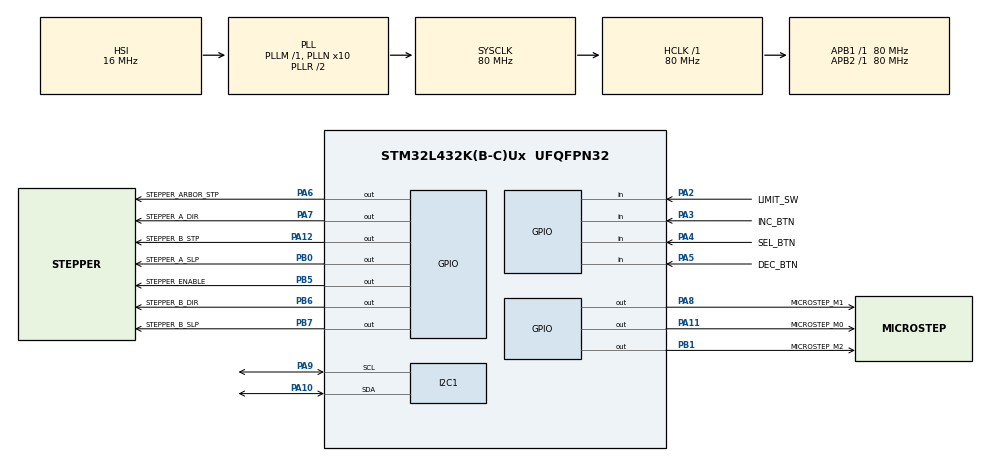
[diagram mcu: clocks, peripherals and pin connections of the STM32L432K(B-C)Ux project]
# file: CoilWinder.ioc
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FREERTOS.INCLUDE_vTaskPrioritySet=1
FREERTOS.Tasks01=UITask,24,128,StartDefaultTask,Default,NULL,Dynamic,NULL,NULL;motorTask,32,128,StartTask02,Default,NULL,Dynamic,NULL,NULL
FREERTOS.configUSE_NEWLIB_REENTRANT=1
I2C1.Timing=0x10909CEC
Mcu.Family=STM32L4
Mcu.Name=STM32L432K(B-C)Ux
Mcu.Package=UFQFPN32
NVIC.PriorityGroup=NVIC_PRIORITYGROUP_4
PA10.Mode=I2C
PA10.Signal=I2C1_SDA
PA11.GPIO_Label=MICROSTEP_M0
PA11.GPIO_PuPd=GPIO_PULLDOWN
PA11.Signal=GPIO_Output
PA12.GPIO_Label=STEPPER_B_STP
PA12.GPIO_PuPd=GPIO_PULLDOWN
PA12.GPIO_Speed=GPIO_SPEED_FREQ_HIGH
PA12.Signal=GPIO_Output
PA2.GPIO_Label=LIMIT_SW
PA2.GPIO_PuPd=GPIO_PULLDOWN
PA2.Signal=GPIO_Input
PA3.GPIO_Label=INC_BTN
PA3.GPIO_PuPd=GPIO_PULLDOWN
PA3.Signal=GPIO_Input
PA4.GPIO_Label=SEL_BTN
PA4.GPIO_PuPd=GPIO_PULLDOWN
PA4.Signal=GPIO_Input
PA5.GPIO_Label=DEC_BTN
PA5.GPIO_PuPd=GPIO_PULLDOWN
PA5.Signal=GPIO_Input
PA6.GPIO_Label=STEPPER_ARBOR_STP
PA6.GPIO_PuPd=GPIO_PULLDOWN
PA6.GPIO_Speed=GPIO_SPEED_FREQ_HIGH
PA6.Signal=GPIO_Output
PA7.GPIO_Label=STEPPER_A_DIR
PA7.GPIO_PuPd=GPIO_PULLDOWN
PA7.Signal=GPIO_Output
PA8.GPIO_Label=MICROSTEP_M1
PA8.GPIO_PuPd=GPIO_PULLDOWN
PA8.Signal=GPIO_Output
PA9.Mode=I2C
PA9.Signal=I2C1_SCL
PB0.GPIO_Label=STEPPER_A_SLP
PB0.GPIO_PuPd=GPIO_PULLDOWN
PB0.Signal=GPIO_Output
PB1.GPIO_Label=MICROSTEP_M2
PB1.GPIO_PuPd=GPIO_PULLDOWN
PB1.Signal=GPIO_Output
PB5.GPIO_Label=STEPPER_ENABLE
PB5.GPIO_PuPd=GPIO_PULLDOWN
PB5.Signal=GPIO_Output
PB6.GPIO_Label=STEPPER_B_DIR
PB6.GPIO_PuPd=GPIO_PULLDOWN
PB6.Signal=GPIO_Output
PB7.GPIO_Label=STEPPER_B_SLP
PB7.GPIO_PuPd=GPIO_PULLDOWN
PB7.Signal=GPIO_Output
ProjectManager.HeapSize=0x200
ProjectManager.StackSize=0x400
ProjectManager.TargetToolchain=STM32CubeIDE
RCC.ADCFreq_Value=64000000
RCC.AHBFreq_Value=80000000
RCC.APB1Freq_Value=80000000
RCC.APB1TimFreq_Value=80000000
RCC.APB2Freq_Value=80000000
RCC.APB2TimFreq_Value=80000000
RCC.CortexFreq_Value=80000000
RCC.HCLKFreq_Value=80000000
RCC.HSE_VALUE=8000000
RCC.HSI48_VALUE=48000000
RCC.HSI_VALUE=16000000
RCC.LSE_VALUE=32768
RCC.MSI_VALUE=4000000
RCC.PLLN=10
RCC.PLLSourceVirtual=RCC_PLLSOURCE_HSI
RCC.SYSCLKFreq_VALUE=80000000
RCC.SYSCLKSource=RCC_SYSCLKSOURCE_PLLCLK
RCC.USBFreq_Value=64000000
RCC.VCOOutputFreq_Value=160000000
TIM1.Period=0xffff-1
TIM1.Prescaler=80-1
VP_FREERTOS_VS_CMSIS_V2.Mode=CMSIS_V2
VP_TIM1_VS_ClockSourceINT.Mode=Internal
board=custom

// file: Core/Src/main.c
/* USER CODE BEGIN Header */
#define _USE_MATH_DEFINES
#include <math.h>
#include "liquidcrystal_i2c.h"
#include <stdbool.h>
#include <stdio.h>
#include <stdlib.h>
#include <string.h>
#include "ArborParameters.h"

#include "DRV8825_Stepper.h"
#include "Button.h"
#include "CoilParameters.h"
#include "EyeParameters.h"
#include "Field.h"
#include "UserInput.h"
#include <CoilWinderUtils.h>

/**
 ******************************************************************************
 * @file           : main.c
 * @brief          : Main program body
 ******************************************************************************
 * @attention
 *
 * Copyright (c) 2023 STMicroelectronics.
 * All rights reserved.
 *
 * This software is licensed under terms that can be found in the LICENSE file
 * in the root directory of this software component.
 * If no LICENSE file comes with this software, it is provided AS-IS.
 *
 ******************************************************************************
 */
/* USER CODE END Header */
#include "main.h"
#include "cmsis_os.h"

I2C_HandleTypeDef hi2c1;

TIM_HandleTypeDef htim1;

/* Definitions for UITask */
osThreadId_t UITaskHandle;
const osThreadAttr_t UITask_attributes = {
  .name = "UITask",
  .stack_size = 128 * 4,
  .priority = (osPriority_t) osPriorityNormal,
};
/* Definitions for motorTask */
osThreadId_t motorTaskHandle;
const osThreadAttr_t motorTask_attributes = {
  .name = "motorTask",
  .stack_size = 128 * 4,
  .priority = (osPriority_t) osPriorityAboveNormal,
};
/* USER CODE BEGIN PV */

CoilParameters_t Coil0;
Button_t IncrementButton;
Button_t DecrementButton;
Button_t SelectButton;
UserInput_t UserInput0;

UIField_t WireField;
UIField_t DiamField;
UIField_t WidthField;
UIField_t LayersField;

UIField_t * UIFields[] = {&WireField, &DiamField, &WidthField, &LayersField};

DRV8825_Stepper_t ArborStepper;
DRV8825_Stepper_t EyeStepper;
EyeParameters_t Eye0;
ArborParameters_t Arbor0;

bool redrawUI = true;

/* USER CODE END PV */

void SystemClock_Config(void);
static void MX_GPIO_Init(void);
static void MX_I2C1_Init(void);
static void MX_TIM1_Init(void);
void StartDefaultTask(void *argument);
void StartTask02(void *argument);

int main(void)
{

  /* MCU Configuration--------------------------------------------------------*/

  /* Reset of all peripherals, Initializes the Flash interface and the Systick. */
  HAL_Init();

  /* USER CODE BEGIN Init */

	Coil_Init(&Coil0, 20, 5000, 100, 1);

    Button_Init(&DecrementButton, GPIOA, DEC_BTN_Pin, 1, 1);
    Button_Init(&IncrementButton, GPIOA, INC_BTN_Pin, 1, 1);
    Button_Init(&SelectButton, GPIOA, SEL_BTN_Pin, 0, 1);

    UserInput_Init(&UserInput0, &DecrementButton, &IncrementButton, &SelectButton);

    UIField_Init(	&WireField,
    					UI_1_X, UI_1_Y, UI_FIELD_OFFSET, UI_1_MULT, FIXED_POINT_PRECISION,
    					"Wire[mm]",
    					&UserInput0,
    					Coil_getWireDiam_10um, Coil_incWireDiam_10um);

    	UIField_Init(	&DiamField,
    					UI_2_X, UI_2_Y, UI_FIELD_OFFSET, UI_2_MULT, FIXED_POINT_PRECISION,
    					"Diam[mm]",
    					&UserInput0,
    					Coil_getCoilDiam_10um, Coil_incCoilDiam_10um);

    	UIField_Init(	&WidthField,
    					UI_3_X, UI_3_Y, UI_FIELD_OFFSET, UI_3_MULT, FIXED_POINT_PRECISION,
    					"Width[mm]",
    					&UserInput0,
    					Coil_getCoilWidth_10um, Coil_incCoilWidth_10um);

    	UIField_Init(	&LayersField,
    					UI_4_X, UI_4_Y, UI_FIELD_OFFSET, UI_4_MULT, 0,
    					"Layers",
    					&UserInput0,
    					Coil_getCoilLayers, Coil_incCoilLayers);

    	DRV8825_Init(	&ArborStepper,
    					GPIOA, STEPPER_ARBOR_STP_Pin,
    					GPIOA, STEPPER_A_DIR_Pin,
    					GPIOB, STEPPER_A_SLP_Pin,
    					NULL, -1,
    					NULL, -1,
    					NULL, -1,
    					NULL, -1,
    					NULL, -1, MICROSTEP_LEVEL);

    	DRV8825_Init(	&EyeStepper,
    					GPIOA, STEPPER_B_STP_Pin,
    					GPIOB, STEPPER_B_DIR_Pin,
    					GPIOB, STEPPER_B_SLP_Pin,
    					NULL, -1,
    					NULL, -1,
    					NULL, -1,
    					NULL, -1,
    					NULL, -1, MICROSTEP_LEVEL);

    	Eye_Init(&Eye0, &EyeStepper, EYE_LENGTH, 0.0, EYE_STEPS, GPIOA, LIMIT_SW_Pin);
    	Arbor_Init(&Arbor0, &ArborStepper, 100, ARBOR_STEPS);

  /* USER CODE END Init */

  /* Configure the system clock */
  SystemClock_Config();

  /* Initialize all configured peripherals */
  MX_GPIO_Init();
  MX_I2C1_Init();
  MX_TIM1_Init();

  /* Init scheduler */
  osKernelInitialize();

  /* Create the thread(s) */
  /* creation of UITask */
  UITaskHandle = osThreadNew(StartDefaultTask, NULL, &UITask_attributes);

  /* creation of motorTask */
  motorTaskHandle = osThreadNew(StartTask02, NULL, &motorTask_attributes);

  /* Start scheduler */
  osKernelStart();

  /* We should never get here as control is now taken by the scheduler */
  /* Infinite loop */
    while (1) {

    }
}

void SystemClock_Config(void)
{
  RCC_OscInitTypeDef RCC_OscInitStruct = {0};
  RCC_ClkInitTypeDef RCC_ClkInitStruct = {0};

  /** Configure the main internal regulator output voltage
  */
  if (HAL_PWREx_ControlVoltageScaling(PWR_REGULATOR_VOLTAGE_SCALE1) != HAL_OK)
  {
    Error_Handler();
  }

  /** Initializes the RCC Oscillators according to the specified parameters
  * in the RCC_OscInitTypeDef structure.
  */
  RCC_OscInitStruct.OscillatorType = RCC_OSCILLATORTYPE_HSI;
  RCC_OscInitStruct.HSIState = RCC_HSI_ON;
  RCC_OscInitStruct.HSICalibrationValue = RCC_HSICALIBRATION_DEFAULT;
  RCC_OscInitStruct.PLL.PLLState = RCC_PLL_ON;
  RCC_OscInitStruct.PLL.PLLSource = RCC_PLLSOURCE_HSI;
  RCC_OscInitStruct.PLL.PLLM = 1;
  RCC_OscInitStruct.PLL.PLLN = 10;
  RCC_OscInitStruct.PLL.PLLP = RCC_PLLP_DIV7;
  RCC_OscInitStruct.PLL.PLLQ = RCC_PLLQ_DIV2;
  RCC_OscInitStruct.PLL.PLLR = RCC_PLLR_DIV2;
  if (HAL_RCC_OscConfig(&RCC_OscInitStruct) != HAL_OK)
  {
    Error_Handler();
  }

  /** Initializes the CPU, AHB and APB buses clocks
  */
  RCC_ClkInitStruct.ClockType = RCC_CLOCKTYPE_HCLK|RCC_CLOCKTYPE_SYSCLK
                              |RCC_CLOCKTYPE_PCLK1|RCC_CLOCKTYPE_PCLK2;
  RCC_ClkInitStruct.SYSCLKSource = RCC_SYSCLKSOURCE_PLLCLK;
  RCC_ClkInitStruct.AHBCLKDivider = RCC_SYSCLK_DIV1;
  RCC_ClkInitStruct.APB1CLKDivider = RCC_HCLK_DIV1;
  RCC_ClkInitStruct.APB2CLKDivider = RCC_HCLK_DIV1;

  if (HAL_RCC_ClockConfig(&RCC_ClkInitStruct, FLASH_LATENCY_4) != HAL_OK)
  {
    Error_Handler();
  }
}

static void MX_I2C1_Init(void)
{

  hi2c1.Instance = I2C1;
  hi2c1.Init.Timing = 0x10909CEC;
  hi2c1.Init.OwnAddress1 = 0;
  hi2c1.Init.AddressingMode = I2C_ADDRESSINGMODE_7BIT;
  hi2c1.Init.DualAddressMode = I2C_DUALADDRESS_DISABLE;
  hi2c1.Init.OwnAddress2 = 0;
  hi2c1.Init.OwnAddress2Masks = I2C_OA2_NOMASK;
  hi2c1.Init.GeneralCallMode = I2C_GENERALCALL_DISABLE;
  hi2c1.Init.NoStretchMode = I2C_NOSTRETCH_DISABLE;
  if (HAL_I2C_Init(&hi2c1) != HAL_OK)
  {
    Error_Handler();
  }

  /** Configure Analogue filter
  */
  if (HAL_I2CEx_ConfigAnalogFilter(&hi2c1, I2C_ANALOGFILTER_ENABLE) != HAL_OK)
  {
    Error_Handler();
  }

  /** Configure Digital filter
  */
  if (HAL_I2CEx_ConfigDigitalFilter(&hi2c1, 0) != HAL_OK)
  {
    Error_Handler();
  }

}

static void MX_TIM1_Init(void)
{

  TIM_ClockConfigTypeDef sClockSourceConfig = {0};
  TIM_MasterConfigTypeDef sMasterConfig = {0};

  htim1.Instance = TIM1;
  htim1.Init.Prescaler = 80-1;
  htim1.Init.CounterMode = TIM_COUNTERMODE_UP;
  htim1.Init.Period = 0xffff-1;
  htim1.Init.ClockDivision = TIM_CLOCKDIVISION_DIV1;
  htim1.Init.RepetitionCounter = 0;
  htim1.Init.AutoReloadPreload = TIM_AUTORELOAD_PRELOAD_DISABLE;
  if (HAL_TIM_Base_Init(&htim1) != HAL_OK)
  {
    Error_Handler();
  }
  sClockSourceConfig.ClockSource = TIM_CLOCKSOURCE_INTERNAL;
  if (HAL_TIM_ConfigClockSource(&htim1, &sClockSourceConfig) != HAL_OK)
  {
    Error_Handler();
  }
  sMasterConfig.MasterOutputTrigger = TIM_TRGO_RESET;
  sMasterConfig.MasterOutputTrigger2 = TIM_TRGO2_RESET;
  sMasterConfig.MasterSlaveMode = TIM_MASTERSLAVEMODE_DISABLE;
  if (HAL_TIMEx_MasterConfigSynchronization(&htim1, &sMasterConfig) != HAL_OK)
  {
    Error_Handler();
  }

}

static void MX_GPIO_Init(void)
{
  GPIO_InitTypeDef GPIO_InitStruct = {0};

  /* GPIO Ports Clock Enable */
  __HAL_RCC_GPIOA_CLK_ENABLE();
  __HAL_RCC_GPIOB_CLK_ENABLE();

  /*Configure GPIO pin Output Level */
  HAL_GPIO_WritePin(GPIOA, STEPPER_ARBOR_STP_Pin|STEPPER_A_DIR_Pin|MICROSTEP_M1_Pin|MICROSTEP_M0_Pin
                          |STEPPER_B_STP_Pin, GPIO_PIN_RESET);

  /*Configure GPIO pin Output Level */
  HAL_GPIO_WritePin(GPIOB, STEPPER_A_SLP_Pin|MICROSTEP_M2_Pin|STEPPER_ENABLE_Pin|STEPPER_B_DIR_Pin
                          |STEPPER_B_SLP_Pin, GPIO_PIN_RESET);

  /*Configure GPIO pins : LIMIT_SW_Pin INC_BTN_Pin SEL_BTN_Pin DEC_BTN_Pin */
  GPIO_InitStruct.Pin = LIMIT_SW_Pin|INC_BTN_Pin|SEL_BTN_Pin|DEC_BTN_Pin;
  GPIO_InitStruct.Mode = GPIO_MODE_INPUT;
  GPIO_InitStruct.Pull = GPIO_PULLDOWN;
  HAL_GPIO_Init(GPIOA, &GPIO_InitStruct);

  /*Configure GPIO pins : STEPPER_ARBOR_STP_Pin STEPPER_B_STP_Pin */
  GPIO_InitStruct.Pin = STEPPER_ARBOR_STP_Pin|STEPPER_B_STP_Pin;
  GPIO_InitStruct.Mode = GPIO_MODE_OUTPUT_PP;
  GPIO_InitStruct.Pull = GPIO_PULLDOWN;
  GPIO_InitStruct.Speed = GPIO_SPEED_FREQ_HIGH;
  HAL_GPIO_Init(GPIOA, &GPIO_InitStruct);

  /*Configure GPIO pins : STEPPER_A_DIR_Pin MICROSTEP_M1_Pin MICROSTEP_M0_Pin */
  GPIO_InitStruct.Pin = STEPPER_A_DIR_Pin|MICROSTEP_M1_Pin|MICROSTEP_M0_Pin;
  GPIO_InitStruct.Mode = GPIO_MODE_OUTPUT_PP;
  GPIO_InitStruct.Pull = GPIO_PULLDOWN;
  GPIO_InitStruct.Speed = GPIO_SPEED_FREQ_LOW;
  HAL_GPIO_Init(GPIOA, &GPIO_InitStruct);

  /*Configure GPIO pins : STEPPER_A_SLP_Pin MICROSTEP_M2_Pin STEPPER_ENABLE_Pin STEPPER_B_DIR_Pin
                           STEPPER_B_SLP_Pin */
  GPIO_InitStruct.Pin = STEPPER_A_SLP_Pin|MICROSTEP_M2_Pin|STEPPER_ENABLE_Pin|STEPPER_B_DIR_Pin
                          |STEPPER_B_SLP_Pin;
  GPIO_InitStruct.Mode = GPIO_MODE_OUTPUT_PP;
  GPIO_InitStruct.Pull = GPIO_PULLDOWN;
  GPIO_InitStruct.Speed = GPIO_SPEED_FREQ_LOW;
  HAL_GPIO_Init(GPIOB, &GPIO_InitStruct);

}

void StartDefaultTask(void *argument)
{
  /* USER CODE BEGIN 5 */

    unsigned int uiMaster = HALF_UINT_MAX;
    uint8_t uiControl = 0;

    HD44780_Init(4);

    HAL_Delay(1000);

	HD44780_Clear();

    /* Infinite loop */
    for (;;) {

    	if(redrawUI) {
			for(int ii = 0; ii < 4; ii++) {
				UIField_PrintTitle(UIFields[ii]);
				UIField_Print(UIFields[ii], &Coil0);
			}

			HD44780_SetCursor(UI_5_X, UI_5_Y);
            HD44780_PrintStr("~");

			redrawUI = false;
    	}

    	UserInput_Update(&UserInput0);

        uiMaster += (UserInput_Get(&UserInput0) == Select);

        uiControl = (uiMaster) % 5;

        bool field_modified = ! (UserInput_Get(&UserInput0) == Select || UserInput_Get(&UserInput0) == None);

        if (field_modified)
            HD44780_NoCursor();
        else
            HD44780_Cursor();

        switch (uiControl) {

        case 0:
        case 1:
        case 2:
        case 3:
        	UIField_SetCursorOnField(UIFields[uiControl]);
        	UIField_UpdateValue(UIFields[uiControl], &Coil0);
        	UIField_RePrint(UIFields[uiControl], &Coil0);

            break;

        case 4:
            HD44780_SetCursor(UI_5_X, UI_5_Y);

            if (field_modified && Coil_isValid(&Coil0))
            	vTaskResume(motorTaskHandle);

            break;

        }

        osDelay(10);

    }
  /* USER CODE END 5 */
}

void StartTask02(void *argument)
{
  /* USER CODE BEGIN StartTask02 */

	int nCoils, nLayers;
	char str[20];

	vTaskSuspend(motorTaskHandle);

    /* Infinite loop */
    for (;;) {

        	HD44780_Clear();

            nCoils = Coil_getCoilWidth_10um(&Coil0) /  Coil_getWireDiam_10um(&Coil0);
            nLayers = Coil_getCoilLayers(&Coil0);

            Arbor_Start(&Arbor0);
            Eye_Start(&Eye0);

            HAL_Delay(3000);
            HD44780_PrintTitle("Homing E Axis...", 0);

            if(Eye_FindHome(&Eye0) == 0) {

            	HD44780_PrintTitle("Set Arbor Position", 0);
            	HD44780_PrintTitle("[SELECT] to cont.", 1);

                while (UserInput_Get(&UserInput0) != Select);

            	HD44780_Clear();
            	HD44780_PrintTitle("Winding coil...", 0);

				//Coil winding starts here
				for (int layersWound = 0; layersWound < nLayers; layersWound++) {

					//alternate the direction of the winding with each layer
					int dir = (-1 * (layersWound % 2)) | ((layersWound+1) % 2);

					//Once a layer of coils has been wound, advance the eye a half coil distance
					//too ensure that the next layer is wound in the root of the previous layer
					if(layersWound)
						Eye_MoveWireDiameters(&Eye0, &Coil0, 0.5*dir);

					//Each iteration winds a single wrap of coil
					for (int coilsWound = 0; coilsWound < nCoils; coilsWound++) {

						//Print percent completion
		                sprintf(str, "%d", (100*(layersWound * nCoils + coilsWound)) / (nLayers * nCoils));
		                strcat(str, "% Complete");
		                HD44780_PrintTitle(str, 1);

		                //odd bug, initializes GPIO pins for some reason, need to fix
						GPIOB->BRR = (uint32_t)STEPPER_ARBOR_STP_Pin;
						GPIOB->BRR = (uint32_t)STEPPER_B_STP_Pin;

						Arbor_SingleRevolution(&Arbor0, &Coil0);
						Eye_MoveWireDiameters(&Eye0, &Coil0, 1*dir);

					}
				}

            } else {
                HD44780_Clear();
            	HD44780_PrintTitle("Homing Failed :(", 0);
            }

            Arbor_End(&Arbor0);
            Eye_End(&Eye0);
            redrawUI = true;
            vTaskSuspend(motorTaskHandle);
    }
  /* USER CODE END StartTask02 */
}

void Error_Handler(void)
{
    __disable_irq();
    while (1) {}
}
